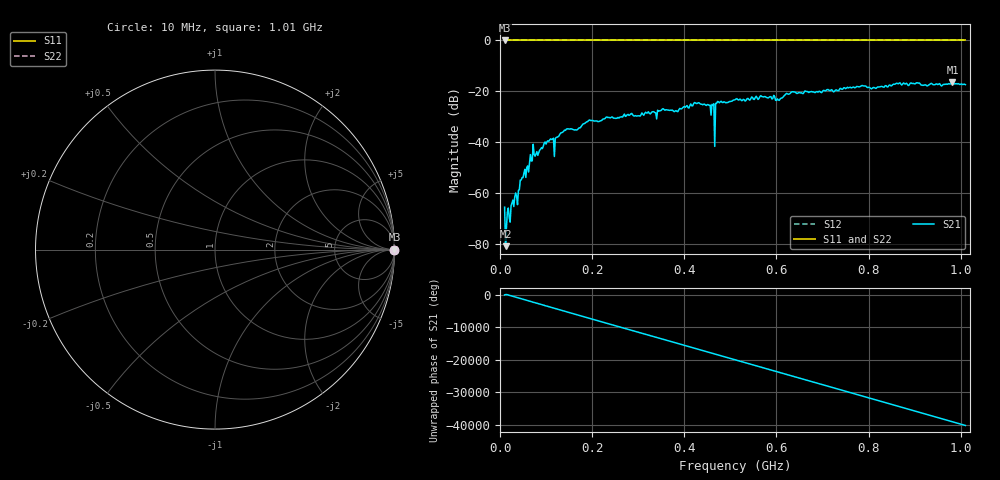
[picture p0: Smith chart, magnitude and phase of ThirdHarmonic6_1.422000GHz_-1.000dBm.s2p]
! 8/16/2025 4:21:36 PM
! C:\ANRITSUVNA\TEMP\TEMP.S2P
! CHANNEL.1
! TR.MEASUREMENT
! RAW.DATA
! RF.CORRECTION.OFF
! AVERAGING.OFF
! IF.BANDWIDTH: 5KHZ
! SWEEPTYPE:  FREQ.SWEEP(Linear)
! Reference Plane Port Info
! PORT:  PORT1  PORT2
! DISTANCE:  0  m  0  m
! TIME:  0  s  0  s
! PHASE.OFFSET:  0  deg.  0  deg.
! LOSS:  0  dB  0  dB
! REF.LOSS:  0  dB  0  dB
! REF.FREQ:  0  Hz  0  Hz
! Power Info
! POWER:  -20  dBm  -20  dBm
! EFF.POWER:  -20  dBm  -20  dBm
! SOURCE.ATTEN:  0  dB  0  dB
! TEST.ATTEN:  0  dB  0  dB
# GHZ S RI R 50.0
! FREQ.GHZ  S11RE  S11IM  S21RE  S21IM  S12RE  S12IM  S22RE  S22IM
!; PortSelection: Port_12
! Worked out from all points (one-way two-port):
!   501 points, 10 MHz to 1.01 GHz, reference 50 ohm
!   highest |S21| = -16.44 dB at 982 MHz (marker M1); lowest = -80.8 dB at 12 MHz (marker M2)
!   lowest |S11| = 0.0 dB at 10 MHz (marker M3)
!   |S11| at or under -10 dB: nowhere
!   |S22| runs from 0.0 to 0.0 dB; largest |S21 - S12| = 1.1
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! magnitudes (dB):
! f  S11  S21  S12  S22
! 10 MHz  0.0  -65.5  0.0  0.0
! 12 MHz  0.0  -80.8  0.0  0.0
! 16 MHz  0.0  -67.5  0.0  0.0
! 30 MHz  0.0  -65.2  0.0  0.0
! 70 MHz  0.0  -47.3  0.0  0.0
! 106 MHz  0.0  -39.6  0.0  0.0
! 122 MHz  0.0  -38.1  0.0  0.0
! 142 MHz  0.0  -35.3  0.0  0.0
! 178 MHz  0.0  -33.4  0.0  0.0
! 344 MHz  0.0  -27.8  0.0  0.0
! 428 MHz  0.0  -24.7  0.0  0.0
! 460 MHz  0.0  -25.1  0.0  0.0
! 462 MHz  0.0  -25.3  0.0  0.0
! 470 MHz  0.0  -24.7  0.0  0.0
! 472 MHz  0.0  -24.0  0.0  0.0
! 510 MHz  0.0  -23.3  0.0  0.0
! 602 MHz  0.0  -22.9  0.0  0.0
! 636 MHz  0.0  -20.1  0.0  0.0
! 678 MHz  0.0  -20.2  0.0  0.0
! 844 MHz  0.0  -17.7  0.0  0.0
! 982 MHz  0.0  -16.4  0.0  0.0
! 1.01 GHz  0.0  -17.4  0.0  0.0
